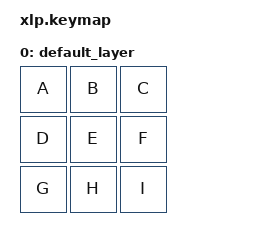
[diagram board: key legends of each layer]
// This file was generated from a template. Edit it to match your keyboard.
// See https://zmk.dev/docs/development/hardware-integration/new-shield for more instructions.

#include <behaviors.dtsi>
#include <dt-bindings/zmk/keys.h>

/ {
    // Define a default keymap here.
    // See https://zmk.dev/docs/development/hardware-integration/new-shield#default-keymap.
    keymap {
        compatible = "zmk,keymap";

        default_layer {
            bindings = <
                &kp A &kp B &kp C
                &kp D &kp E &kp F
		&kp G &kp H &kp I
            >;
        };
    };
};
